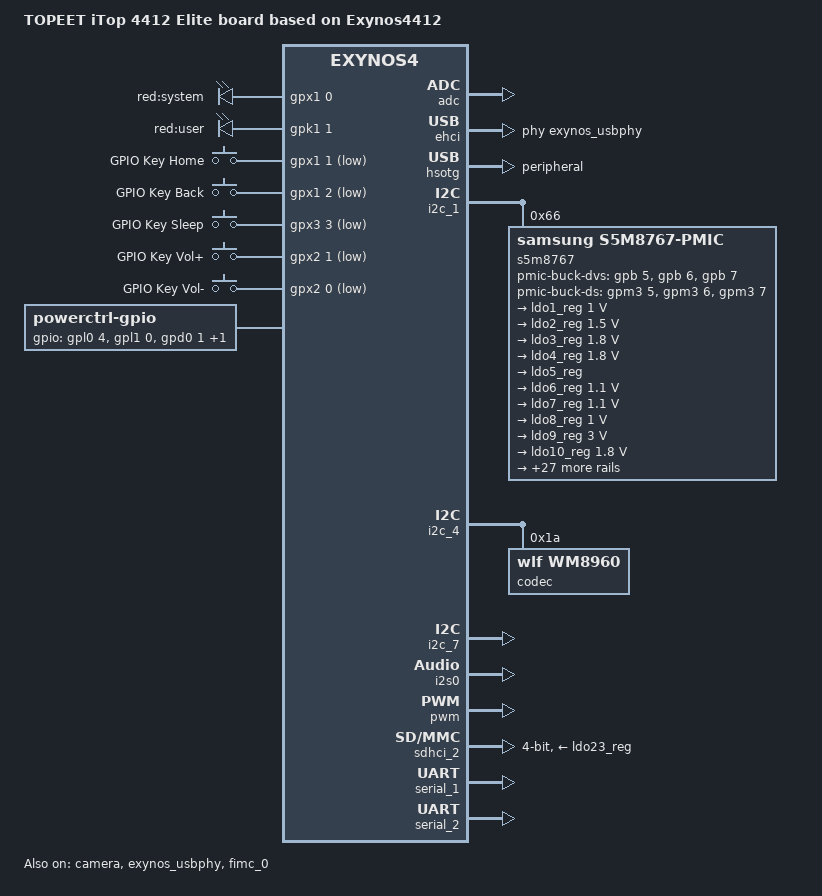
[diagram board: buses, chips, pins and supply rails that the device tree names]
// SPDX-License-Identifier: GPL-2.0
/*
 * TOPEET's Exynos4412 based itop board device tree source
 *
 * Copyright (c) 2016 SUMOMO Computer Association
 *			https://www.sumomo.mobi
 *			Randy Li <ayaka@soulik.info>
 *
 * Device tree source file for TOPEET iTop Exynos 4412 core board
 * which is based on Samsung's Exynos4412 SoC.
 */

/dts-v1/;
#include <dt-bindings/pwm/pwm.h>
#include <dt-bindings/sound/samsung-i2s.h>
#include "exynos4412-itop-scp-core.dtsi"

/ {
	model = "TOPEET iTop 4412 Elite board based on Exynos4412";
	compatible = "topeet,itop4412-elite", "samsung,exynos4412", "samsung,exynos4";

	chosen {
		bootargs = "root=/dev/mmcblk0p2 rw rootfstype=ext4 rootdelay=1 rootwait";
		stdout-path = "serial2:115200n8";
	};

	leds {
		compatible = "gpio-leds";

		led2 {
			label = "red:system";
			gpios = <&gpx1 0 GPIO_ACTIVE_HIGH>;
			default-state = "off";
			linux,default-trigger = "heartbeat";
		};

		led3 {
			label = "red:user";
			gpios = <&gpk1 1 GPIO_ACTIVE_HIGH>;
			default-state = "off";
		};
	};

	gpio-keys {
		compatible = "gpio-keys";

		home {
			label = "GPIO Key Home";
			linux,code = <KEY_HOME>;
			gpios = <&gpx1 1 GPIO_ACTIVE_LOW>;
		};

		back {
			label = "GPIO Key Back";
			linux,code = <KEY_BACK>;
			gpios = <&gpx1 2 GPIO_ACTIVE_LOW>;
		};

		sleep {
			label = "GPIO Key Sleep";
			linux,code = <KEY_POWER>;
			gpios = <&gpx3 3 GPIO_ACTIVE_LOW>;
		};

		vol-up {
			label = "GPIO Key Vol+";
			linux,code = <KEY_UP>;
			gpios = <&gpx2 1 GPIO_ACTIVE_LOW>;
		};

		vol-down {
			label = "GPIO Key Vol-";
			linux,code = <KEY_DOWN>;
			gpios = <&gpx2 0 GPIO_ACTIVE_LOW>;
		};
	};

	sound {
		compatible = "simple-audio-card";
		simple-audio-card,name = "wm-sound";

		simple-audio-card,format = "i2s";
		simple-audio-card,bitclock-master = <&link0_codec>;
		simple-audio-card,frame-master = <&link0_codec>;

		simple-audio-card,widgets =
			"Microphone", "Mic Jack",
			"Line", "Line In",
			"Line", "Line Out",
			"Speaker", "Speaker",
			"Headphone", "Headphone Jack";
		simple-audio-card,routing =
			"Headphone Jack", "HP_L",
			"Headphone Jack", "HP_R",
			"Speaker", "SPK_LP",
			"Speaker", "SPK_LN",
			"Speaker", "SPK_RP",
			"Speaker", "SPK_RN",
			"LINPUT1", "Mic Jack",
			"LINPUT3", "Mic Jack",
			"RINPUT1", "Mic Jack",
			"RINPUT2", "Mic Jack";

		simple-audio-card,cpu {
			sound-dai = <&i2s0 0>;
		};

		link0_codec: simple-audio-card,codec {
			sound-dai = <&codec>;
			clocks = <&i2s0 CLK_I2S_CDCLK>;
			system-clock-frequency = <11289600>;
		};
	};

	/*
	beep {
		compatible = "pwm-beeper";
		pwms = <&pwm 0 4000000 PWM_POLARITY_INVERTED>;
	};
	*/
	
	/* 供电 */
	powerctrl {
		compatible = "powerctrl-gpio";
		pinctrl-names = "default";
		pinctrl-0 = <&power_ctrl>,<&lcd_ctrl>;
		gpios = <&gpl0 4 0>,<&gpl1 0 0>,<&gpd0 1 0>,<&gpl0 2 0>;
		usb-ctl =  <&gpm2 4 0>,<&gpm3 3 0>;
		me3630-ctl =  <&gpc0 4 0>,<&gpz 6 0>;
	};
	/* LCD设备 */
	lcd_4_3@11C00000 {
		compatible = "itop4412, lcd_4_3";
		reg = <0x11C00000 0x20c0 0x10010210 0x08 0x10023c80 0x04 0x1003c000 0x1000>;
		pinctrl-names = "default";
		pinctrl-0 = <&lcd_4_3>;
		clocks = <&clock CLK_FIMD0 &clock CLK_ACLK160>;
		clock-names = "fimd0","aclk160";
	};
};

&adc {
	vdd-supply = <&ldo3_reg>;
	status = "okay";
};

&camera {
	pinctrl-0 = <&cam_port_a_clk_active>;
	pinctrl-names = "default";
	status = "okay";
	assigned-clocks = <&clock CLK_MOUT_CAM0>;
	assigned-clock-parents = <&clock CLK_XUSBXTI>;
};

&clock_audss {
	assigned-clocks = <&clock_audss EXYNOS_MOUT_AUDSS>,
			<&clock_audss EXYNOS_MOUT_I2S>,
			<&clock_audss EXYNOS_DOUT_SRP>,
			<&clock_audss EXYNOS_DOUT_AUD_BUS>;
	assigned-clock-parents = <&clock CLK_FOUT_EPLL>,
			<&clock_audss EXYNOS_MOUT_AUDSS>;
	assigned-clock-rates = <0>, <0>, <112896000>, <11289600>;
};

&ehci {
	status = "okay";
	/* In order to reset USB ethernet */
	samsung,vbus-gpio = <&gpc0 1 GPIO_ACTIVE_HIGH>;

	phys = <&exynos_usbphy 1>, <&exynos_usbphy 3>;
	phy-names = "host", "hsic1";
};

&exynos_usbphy {
	status = "okay";
};

&fimc_0 {
	status = "okay";
	assigned-clocks = <&clock CLK_MOUT_FIMC0>,
			<&clock CLK_SCLK_FIMC0>;
	assigned-clock-parents = <&clock CLK_MOUT_MPLL_USER_T>;
	assigned-clock-rates = <0>, <176000000>;
};

&hsotg {
	dr_mode = "peripheral";
	status = "okay";
};
&i2c_1 {
	#address-cells = <1>;
	#size-cells = <0>;
	samsung,i2c-sda-delay = <100>;
	samsung,i2c-max-bus-freq = <400000>;
	pinctrl-0 = <&i2c1_bus>;
	pinctrl-names = "default";
	status = "okay";

	s5m8767: s5m8767-pmic@66 {
		compatible = "samsung,s5m8767-pmic";
		reg = <0x66>;

		s5m8767,pmic-buck-default-dvs-idx = <3>;

		s5m8767,pmic-buck-dvs-gpios = <&gpb 5 GPIO_ACTIVE_HIGH>,
						 <&gpb 6 GPIO_ACTIVE_HIGH>,
						 <&gpb 7 GPIO_ACTIVE_HIGH>;

		s5m8767,pmic-buck-ds-gpios = <&gpm3 5 GPIO_ACTIVE_HIGH>,
						<&gpm3 6 GPIO_ACTIVE_HIGH>,
						<&gpm3 7 GPIO_ACTIVE_HIGH>;
		/* VDD_ARM */
		s5m8767,pmic-buck2-dvs-voltage = <1356250>, <1300000>,
						 <1243750>, <1118750>,
						 <1068750>, <1012500>,
						 <956250>, <900000>;
		/* VDD_INT */
		s5m8767,pmic-buck3-dvs-voltage = <1000000>, <1000000>,
						 <925000>, <925000>,
						 <887500>, <887500>,
						 <850000>, <850000>;
		/* VDD_G3D */
		s5m8767,pmic-buck4-dvs-voltage = <1081250>, <1081250>,
						 <1025000>, <950000>,
						 <918750>, <900000>,
						 <875000>, <831250>;

		regulators {
			ldo1_reg: LDO1 {
				regulator-name = "VDD_ALIVE";
				regulator-min-microvolt = <1000000>;
				regulator-max-microvolt = <1000000>;
				regulator-always-on;
				regulator-boot-on;
				op_mode = <1>; /* Normal Mode */
			};

			/* SCP uses 1.5v, POP uses 1.2v */
			ldo2_reg: LDO2 {
				regulator-name = "VDDQ_M12";
				regulator-min-microvolt = <1500000>;
				regulator-max-microvolt = <1500000>;
				regulator-always-on;
				regulator-boot-on;
				op_mode = <1>; /* Normal Mode */
			};

			ldo3_reg: LDO3 {
				regulator-name = "VDDIOAP_18";
				regulator-min-microvolt = <1800000>;
				regulator-max-microvolt = <1800000>;
				regulator-always-on;
				op_mode = <1>; /* Normal Mode */
			};

			ldo4_reg: LDO4 {
				regulator-name = "VDDQ_PRE";
				regulator-min-microvolt = <1800000>;
				regulator-max-microvolt = <1800000>;
				regulator-always-on;
				op_mode = <1>; /* Normal Mode */
			};

			ldo5_reg: LDO5 {
				regulator-name = "VDD_LDO5";
				op_mode = <0>; /* Always off Mode */
			};

			ldo6_reg: LDO6 {
				regulator-name = "VDD10_MPLL";
				regulator-min-microvolt = <1100000>;
				regulator-max-microvolt = <1100000>;
				regulator-always-on;
				op_mode = <1>; /* Normal Mode */
			};

			ldo7_reg: LDO7 {
				regulator-name = "VDD10_XPLL";
				regulator-min-microvolt = <1100000>;
				regulator-max-microvolt = <1100000>;
				regulator-always-on;
				op_mode = <1>; /* Normal Mode */
			};

			ldo8_reg: LDO8 {
				regulator-name = "VDD10_MIPI";
				regulator-min-microvolt = <1000000>;
				regulator-max-microvolt = <1000000>;
				op_mode = <1>; /* Normal Mode */
			};

			ldo9_reg: LDO9 {
				regulator-name = "VDD33_LCD";
				regulator-min-microvolt = <3000000>;
				regulator-max-microvolt = <3000000>;
				op_mode = <1>; /* Normal Mode */
			};

			ldo10_reg: LDO10 {
				regulator-name = "VDD18_MIPI";
				regulator-min-microvolt = <1800000>;
				regulator-max-microvolt = <1800000>;
				op_mode = <1>; /* Normal Mode */
			};

			ldo11_reg: LDO11 {
				regulator-name = "VDD18_ABB1";
				regulator-min-microvolt = <1800000>;
				regulator-max-microvolt = <1800000>;
				regulator-always-on;
				op_mode = <1>; /* Normal Mode */
			};

			ldo12_reg: LDO12 {
				regulator-name = "VDD33_UOTG";
				regulator-min-microvolt = <3000000>;
				regulator-max-microvolt = <3000000>;
				regulator-always-on;
				op_mode = <1>; /* Normal Mode */
			};

			ldo13_reg: LDO13 {
				regulator-name = "VDDIOPERI_18";
				regulator-min-microvolt = <1800000>;
				regulator-max-microvolt = <1800000>;
				regulator-always-on;
				op_mode = <1>; /* Normal Mode */
			};

			ldo14_reg: LDO14 {
				regulator-name = "VDD18_ABB02";
				regulator-min-microvolt = <1800000>;
				regulator-max-microvolt = <1800000>;
				regulator-always-on;
				op_mode = <1>; /* Normal Mode */
			};

			ldo15_reg: LDO15 {
				regulator-name = "VDD10_USH";
				regulator-min-microvolt = <1000000>;
				regulator-max-microvolt = <1000000>;
				regulator-always-on;
				op_mode = <1>; /* Normal Mode */
			};

			ldo16_reg: LDO16 {
				regulator-name = "VDD18_HSIC";
				regulator-min-microvolt = <1800000>;
				regulator-max-microvolt = <1800000>;
				regulator-always-on;
				op_mode = <1>; /* Normal Mode */
			};

			ldo17_reg: LDO17 {
				regulator-name = "VDDIOAP_MMC012_28";
				regulator-min-microvolt = <2800000>;
				regulator-max-microvolt = <2800000>;
				op_mode = <1>; /* Normal Mode */
			};

			/* Used by HSIC */
			ldo18_reg: LDO18 {
				regulator-name = "VDDIOPERI_28";
				regulator-min-microvolt = <2800000>;
				regulator-max-microvolt = <2800000>;
				regulator-always-on;
				op_mode = <1>; /* Normal Mode */
			};

			ldo19_reg: LDO19 {
				regulator-name = "VDD_LDO19";
				op_mode = <0>; /* Always off Mode */
			};

			ldo20_reg: LDO20 {
				regulator-name = "VDD28_CAM";
				regulator-min-microvolt = <3000000>;
				regulator-max-microvolt = <3000000>;
				op_mode = <1>; /* Normal Mode */
			};

			ldo21_reg: LDO21 {
				regulator-name = "VDD28_AF";
				regulator-min-microvolt = <3000000>;
				regulator-max-microvolt = <3000000>;
				op_mode = <1>; /* Normal Mode */
			};

			ldo22_reg: LDO22 {
				regulator-name = "VDDA28_2M";
				//regulator-min-microvolt = <2800000>;
				//regulator-max-microvolt = <2800000>;
				op_mode = <0>; /* Normal Mode */
			};

			ldo23_reg: LDO23 {
				regulator-name = "VDD28_TF";
				regulator-min-microvolt = <2800000>;
				regulator-max-microvolt = <2800000>;
				op_mode = <1>; /* Normal Mode */
			};

			ldo24_reg: LDO24 {
				regulator-name = "VDD33_A31";
				regulator-min-microvolt = <3000000>;
				regulator-max-microvolt = <3000000>;
				op_mode = <1>; /* Normal Mode */
			};

			ldo25_reg: LDO25 {
				regulator-name = "VDD18_CAM";
				regulator-min-microvolt = <1200000>;
				regulator-max-microvolt = <1200000>;
				op_mode = <1>; /* Normal Mode */
			};

			ldo26_reg: LDO26 {
				regulator-name = "VDD18_A31";
				regulator-min-microvolt = <1800000>;
				regulator-max-microvolt = <1800000>;
				op_mode = <1>; /* Normal Mode */
			};

			ldo27_reg: LDO27 {
				regulator-name = "GPS_1V8";
				//regulator-min-microvolt = <1800000>;
				//regulator-max-microvolt = <1800000>;
				op_mode = <0>; /* Normal Mode */
			};

			ldo28_reg: LDO28 {
				regulator-name = "DVDD12";
				//regulator-min-microvolt = <1200000>;
				//regulator-max-microvolt = <1200000>;
				op_mode = <0>; /* Normal Mode */
			};

			buck1_reg: BUCK1 {
				regulator-name = "vdd_mif";
				regulator-min-microvolt = <850000>;
				regulator-max-microvolt	= <1100000>;
				regulator-always-on;
				regulator-boot-on;
				op_mode = <1>; /* Normal Mode */
			};

			buck2_reg: BUCK2 {
				regulator-name = "vdd_arm";
				regulator-min-microvolt = <850000>;
				regulator-max-microvolt	= <1456250>;
				regulator-always-on;
				regulator-boot-on;
				op_mode = <1>; /* Normal Mode */
			};

			buck3_reg: BUCK3 {
				regulator-name = "vdd_int";
				regulator-min-microvolt = <875000>;
				regulator-max-microvolt	= <1200000>;
				regulator-always-on;
				regulator-boot-on;
				op_mode = <1>; /* Normal Mode */
			};

			buck4_reg: BUCK4 {
				regulator-name = "vdd_g3d";
				regulator-min-microvolt = <750000>;
				regulator-max-microvolt	= <1500000>;
				regulator-always-on;
				regulator-boot-on;
				op_mode = <1>; /* Normal Mode */
			};

			buck5_reg: BUCK5 {
				regulator-name = "vdd_m12";
				regulator-min-microvolt = <750000>;
				regulator-max-microvolt	= <1500000>;
				regulator-always-on;
				regulator-boot-on;
				op_mode = <1>; /* Normal Mode */
			};

			buck6_reg: BUCK6 {
				regulator-name = "vdd12_5m";
				regulator-min-microvolt = <750000>;
				regulator-max-microvolt	= <1500000>;
				regulator-always-on;
				regulator-boot-on;
				op_mode = <1>; /* Normal Mode */
			};

			buck7_reg: BUCK7 {
				regulator-name = "pvdd_buck7";
				regulator-min-microvolt = <2050000>;
				regulator-max-microvolt	= <2050000>;
				regulator-boot-on;
				regulator-always-on;
				op_mode = <1>; /* Normal Mode */
			};

			buck8_reg: BUCK8 {
				regulator-name = "pvdd_buck8";
				regulator-min-microvolt = <750000>;
				regulator-max-microvolt	= <1500000>;
				regulator-boot-on;
				regulator-always-on;
				op_mode = <1>; /* Normal Mode */
			};

			buck9_reg: BUCK9 {
				regulator-name = "vddf28_emmc";
				regulator-min-microvolt = <750000>;
				regulator-max-microvolt	= <3000000>;
				op_mode = <1>; /* Normal Mode */
			};
		};

		s5m8767_osc: clocks {
			#clock-cells = <1>;
			clock-output-names = "s5m8767_ap",
					"s5m8767_cp", "s5m8767_bt";
		};

	};
};

&i2c_4 {
	samsung,i2c-sda-delay = <100>;
	samsung,i2c-slave-addr = <0x10>;
	samsung,i2c-max-bus-freq = <100000>;
	pinctrl-0 = <&i2c4_bus>;
	pinctrl-names = "default";
	status = "okay";

	codec: wm8960@1a {
		compatible = "wlf,wm8960";
		reg = <0x1a>;
		clocks = <&pmu_system_controller 0>;
		clock-names = "MCLK1";
		wlf,shared-lrclk;
		#sound-dai-cells = <0>;
	};
};

&i2c_7 {
        samsung,i2c-sda-delay = <100>;
        samsung,i2c-slave-addr = <0x10>;
        samsung,i2c-max-bus-freq = <40000>;
        pinctrl-0 = <&i2c7_bus>;
        pinctrl-names = "default";
        status = "okay";

		/*
		tsc2007: tsc2007@38 {
					compatible = "ti,tsc2007";
					reg = <0x48>;
					interrupt-parent = <&gpx0>;
					interrupts = <0 IRQ_TYPE_EDGE_FALLING>;
					pinctrl-names = "default";
					pinctrl-0 = <&tsc2007_irq>;//<&ft5x06_rst>,
					// reset-gpios = <&gpc0 2 0>;
					gpios = <&gpx0 0 GPIO_ACTIVE_LOW>;
					ti,x-plate-ohms = <180>;
					status = "okay";
        };*/

};

&i2s0 {
	pinctrl-0 = <&i2s0_bus>;
	pinctrl-names = "default";
	status = "okay";
};

&pinctrl_0 {
    lcd_4_3:lcd {
        samsung,pins = "gpf0-0", "gpf0-1", "gpf0-2", "gpf0-3", "gpf0-4",
        "gpf0-5", "gpf0-6","gpf0-7", "gpf1-0", "gpf1-1",
        "gpf1-2", "gpf1-3", "gpf1-4", "gpf1-5", "gpf1-6",
        "gpf1-7", "gpf2-0", "gpf2-1", "gpf2-2", "gpf2-3", 
        "gpf2-4", "gpf2-5", "gpf2-6","gpf2-7", "gpf3-0",
        "gpf3-1", "gpf3-2", "gpf3-3";
        samsung,pin-function = <2>;
        samsung,pin-pud = <0>;
        samsung,pin-drv = <0>;
    };
};

&pinctrl_1 {
	ether-reset {
		samsung,pins = "gpc0-1";
		samsung,pin-function = <EXYNOS_PIN_FUNC_INPUT>;
		samsung,pin-pud = <EXYNOS_PIN_PULL_NONE>;
		samsung,pin-drv = <EXYNOS4_PIN_DRV_LV1>;
	};
	
	power_ctrl:power_ctrl{
	samsung,pins = "gpl0-4","gpl1-0","gpl0-2";
	samsung,pin-function = <EXYNOS_PIN_FUNC_OUTPUT>;
	samsung,pin-pud = <EXYNOS_PIN_PULL_NONE>;
	samsung,pin-drv = <EXYNOS4_PIN_DRV_LV1>;
	};
};

&pwm {
	status = "okay";
	pinctrl-0 = <&pwm0_out>;
	pinctrl-names = "default";
	samsung,pwm-outputs = <0>;
};

&sdhci_2 {
	bus-width = <4>;
	pinctrl-0 = <&sd2_clk &sd2_cmd &sd2_bus4>;
	pinctrl-names = "default";
	cd-gpio = <&gpx0 7 GPIO_ACTIVE_LOW>;
	cap-sd-highspeed;
	vmmc-supply = <&ldo23_reg>;
	vqmmc-supply = <&ldo17_reg>;
	status = "okay";
};

&serial_1 {
	status = "okay";
};

&serial_2 {
	status = "okay";
};
